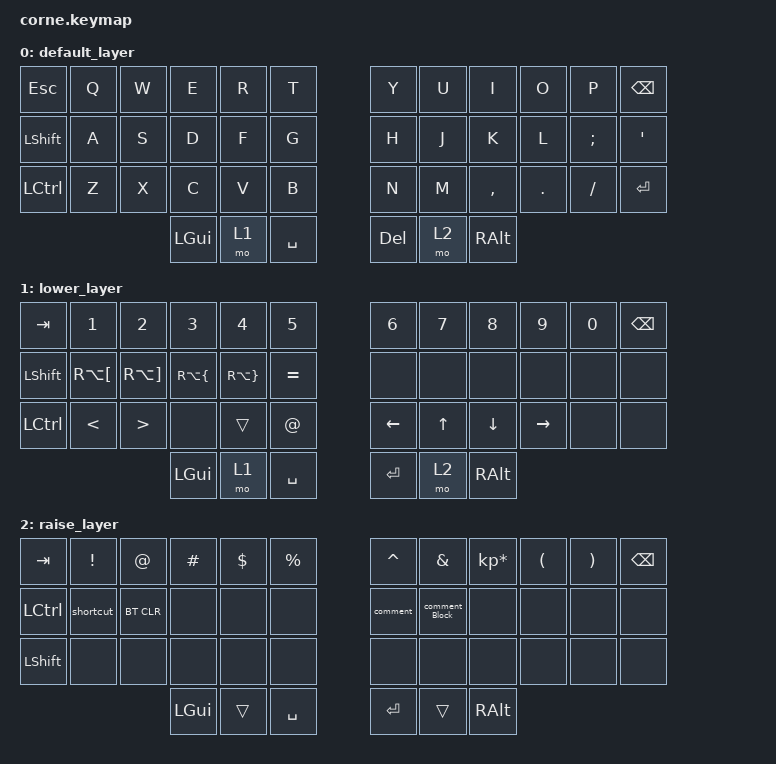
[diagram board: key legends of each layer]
/*
 * Copyright (c) 2020 The ZMK Contributors
 *
 * SPDX-License-Identifier: MIT
 */

#include <behaviors.dtsi>
#include <dt-bindings/zmk/bt.h>
#include <dt-bindings/zmk/keys.h>

/ {
    macros {
        comment: comment {
            compatible = "zmk,behavior-macro";
            #binding-cells = <0>;
            bindings = <&kp LC(SLASH)>;
            label = "COMMENT";
        };

        comment_Block: comment_Block {
            compatible = "zmk,behavior-macro";
            #binding-cells = <0>;
            bindings = <&kp LEFT_CONTROL &kp SLASH &kp ASTERISK>;
            label = "COMMENT_BLOCK";
        };

        shortcut: shortcut {
            compatible = "zmk,behavior-macro";
            #binding-cells = <0>;
            bindings = <&kp LCMD &kp LEFT_SHIFT &kp N5>;
            label = "SHORTCUT";
        };
    };

    keymap {
        compatible = "zmk,keymap";

        default_layer {
            // -----------------------------------------------------------------------------------------
            // |  TAB |  Q  |  W  |  E  |  R  |  T  |   |  Y  |  U   |  I  |  O  |  P  | BKSP |
            // | CTRL |  A  |  S  |  D  |  F  |  G  |   |  H  |  J   |  K  |  L  |  ;  |  '   |
            // | SHFT |  Z  |  X  |  C  |  V  |  B  |   |  N  |  M   |  ,  |  .  |  /  | ESC  |
            //                    | GUI | LWR | SPC |   | ENT | RSE  | ALT |

            bindings = <
&kp ESCAPE        &kp Q  &kp W  &kp E     &kp R  &kp T        &kp Y    &kp U  &kp I      &kp O    &kp P     &kp BSPC
&kp LEFT_SHIFT    &kp A  &kp S  &kp D     &kp F  &kp G        &kp H    &kp J  &kp K      &kp L    &kp SEMI  &kp SQT
&kp LEFT_CONTROL  &kp Z  &kp X  &kp C     &kp V  &kp B        &kp N    &kp M  &kp COMMA  &kp DOT  &kp FSLH  &kp ENTER
                                &kp LGUI  &mo 1  &kp SPACE    &kp DEL  &mo 2  &kp RALT
            >;
        };

        lower_layer {
            // -----------------------------------------------------------------------------------------
            // |  TAB |  1  |  2  |  3  |  4  |  5  |   |  6  |  7  |  8  |  9  |  0  | BKSP |
            // | BTCLR| BT1 | BT2 | BT3 | BT4 | BT5 |   | LFT | DWN |  UP | RGT |     |      |
            // | SHFT |     |     |     |     |     |   |     |     |     |     |     |      |
            //                    | GUI |     | SPC |   | ENT |     | ALT |

            bindings = <
&kp TAB           &kp N1                &kp N2                 &kp N3              &kp N4               &kp N5         &kp N6          &kp N7        &kp N8          &kp N9           &kp N0  &kp BSPC
&kp LEFT_SHIFT    &kp RA(LEFT_BRACKET)  &kp RA(RIGHT_BRACKET)  &kp RA(LEFT_BRACE)  &kp RA(RIGHT_BRACE)  &kp EQUAL      &none           &none         &none           &none            &none   &none
&kp LEFT_CONTROL  &kp LESS_THAN         &kp GREATER_THAN       &none               &trans               &kp AT_SIGN    &kp LEFT_ARROW  &kp UP_ARROW  &kp DOWN_ARROW  &kp RIGHT_ARROW  &none   &none
                                                               &kp LGUI            &mo 1                &kp SPACE      &kp RET         &mo 2         &kp RALT
            >;
        };

        raise_layer {
            // -----------------------------------------------------------------------------------------
            // |  TAB |  !  |  @  |  #  |  $  |  %  |   |  ^  |  &  |  *  |  (  |  )  | BKSP |
            // | CTRL |     |     |     |     |     |   |  -  |  =  |  [  |  ]  |  \  |  `   |
            // | SHFT |     |     |     |     |     |   |  _  |  +  |  {  |  }  | "|" |  ~   |
            //                    | GUI |     | SPC |   | ENT |     | ALT |

            bindings = <
&kp TAB    &kp EXCL   &kp AT      &kp HASH  &kp DLLR  &kp PRCNT    &kp CARET  &kp AMPS        &kp KP_MULTIPLY  &kp LPAR  &kp RPAR  &kp BSPC
&kp LCTRL  &shortcut  &bt BT_CLR  &none     &none     &none        &comment   &comment_Block  &none            &none     &none     &none
&kp LSHFT  &none      &none       &none     &none     &none        &none      &none           &none            &none     &none     &none
                                  &kp LGUI  &trans    &kp SPACE    &kp RET    &trans          &kp RALT
            >;
        };
    };
};
